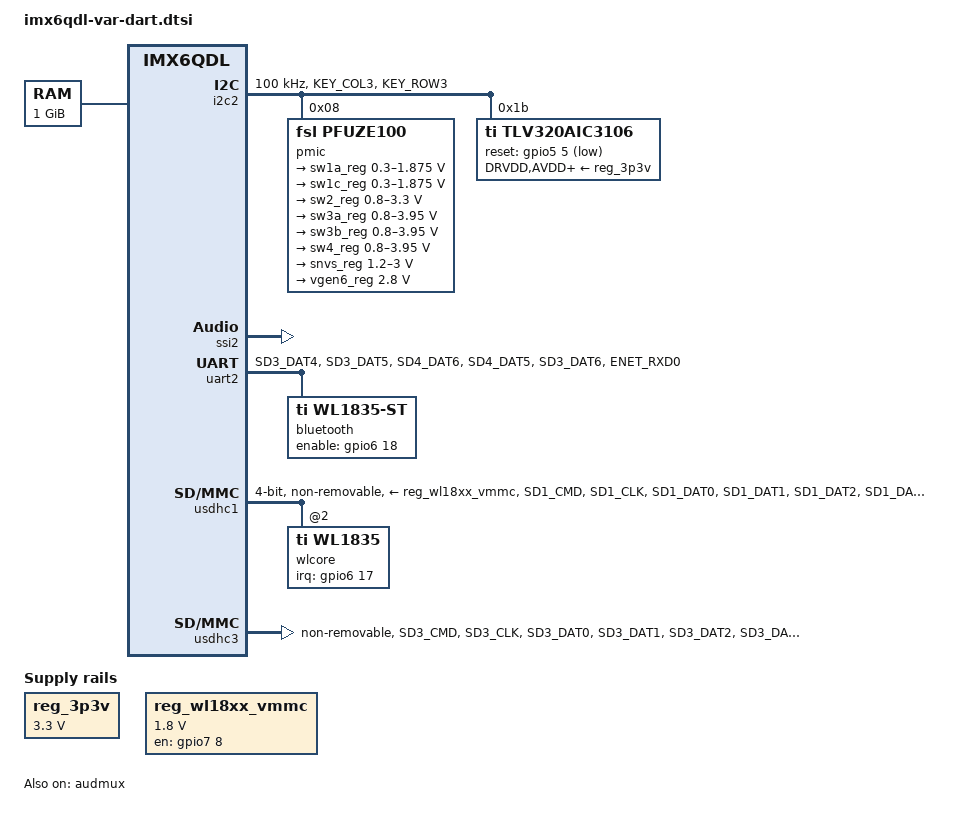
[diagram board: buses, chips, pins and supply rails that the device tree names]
// SPDX-License-Identifier: (GPL-2.0+ OR MIT)
/*
 * Support for Variscite DART-MX6 Module
 *
 * Copyright 2017 BayLibre, SAS
 * Author: Neil Armstrong <narmstrong@baylibre.com>
 */

#include <dt-bindings/gpio/gpio.h>
#include <dt-bindings/sound/fsl-imx-audmux.h>

/ {
	memory@10000000 {
		device_type = "memory";
		reg = <0x10000000 0x40000000>;
	};

	reg_3p3v: regulator-3p3v {
		compatible = "regulator-fixed";
		regulator-name = "3P3V";
		regulator-min-microvolt = <3300000>;
		regulator-max-microvolt = <3300000>;
		regulator-always-on;
	};

	reg_wl18xx_vmmc: regulator-wl18xx {
		compatible = "regulator-fixed";
		regulator-name = "vwl1807";
		regulator-min-microvolt = <1800000>;
		regulator-max-microvolt = <1800000>;
		gpio = <&gpio7 8 GPIO_ACTIVE_HIGH>;
		enable-active-high;
		startup-delay-us = <70000>;
	};
};

&audmux {
	pinctrl-names = "default";
	pinctrl-0 = <&pinctrl_audmux>;
	status = "okay";

	ssi2 {
		fsl,audmux-port = <1>;
		fsl,port-config = <
			(IMX_AUDMUX_V2_PTCR_SYN |
			IMX_AUDMUX_V2_PTCR_TFSDIR |
			IMX_AUDMUX_V2_PTCR_TFSEL(2) |
			IMX_AUDMUX_V2_PTCR_TCLKDIR |
			IMX_AUDMUX_V2_PTCR_TCSEL(2))
			IMX_AUDMUX_V2_PDCR_RXDSEL(2)
		>;
	};

	aud3 {
		fsl,audmux-port = <2>;
		fsl,port-config = <
			IMX_AUDMUX_V2_PTCR_SYN
			IMX_AUDMUX_V2_PDCR_RXDSEL(1)
		>;
	};
};

&can1 {
	pinctrl-names = "default";
	pinctrl-0 = <&pinctrl_flexcan1>;
	status = "disabled";
};

&can2 {
	pinctrl-names = "default";
	pinctrl-0 = <&pinctrl_flexcan2>;
	status = "disabled";
};

&ecspi1 {
	pinctrl-names = "default";
	pinctrl-0 = <&pinctrl_ecspi1>;
	status = "disabled";
};

&fec {
	pinctrl-names = "default";
	pinctrl-0 = <&pinctrl_enet>;
	phy-mode = "rgmii";
	status = "disabled";
};

&hdmi {
	pinctrl-names = "default";
	pinctrl-0 = <&pinctrl_hdmicec>;
	ddc-i2c-bus = <&i2c1>;
	status = "disabled";
};

&i2c1 {
	pinctrl-names = "default";
	pinctrl-0 = <&pinctrl_i2c1>;
	status = "disabled";
};

&i2c2 {
	clock-frequency = <100000>;
	pinctrl-names = "default";
	pinctrl-0 = <&pinctrl_i2c2>;
	status = "okay";

	pmic@8 {
		pinctrl-names = "default";
		pinctrl-0 = <&pinctrl_pmic>;
		compatible = "fsl,pfuze100";
		reg = <0x08>;

		regulators {
			sw1a_reg: sw1ab {
				regulator-min-microvolt = <300000>;
				regulator-max-microvolt = <1875000>;
				regulator-boot-on;
				regulator-always-on;
				regulator-ramp-delay = <6250>;
			};

			sw1c_reg: sw1c {
				regulator-min-microvolt = <300000>;
				regulator-max-microvolt = <1875000>;
				regulator-boot-on;
				regulator-always-on;
				regulator-ramp-delay = <6250>;
			};

			sw2_reg: sw2 {
				regulator-min-microvolt = <800000>;
				regulator-max-microvolt = <3300000>;
				regulator-boot-on;
				regulator-always-on;
			};

			sw3a_reg: sw3a {
				regulator-min-microvolt = <800000>;
				regulator-max-microvolt = <3950000>;
				regulator-boot-on;
				regulator-always-on;
			};

			sw3b_reg: sw3b {
				regulator-min-microvolt = <800000>;
				regulator-max-microvolt = <3950000>;
				regulator-boot-on;
				regulator-always-on;
			};

			sw4_reg: sw4 {
				regulator-min-microvolt = <800000>;
				regulator-max-microvolt = <3950000>;
			};

			snvs_reg: vsnvs {
				regulator-min-microvolt = <1200000>;
				regulator-max-microvolt = <3000000>;
				regulator-boot-on;
				regulator-always-on;
			};

			vref_reg: vrefddr {
				regulator-boot-on;
				regulator-always-on;
			};

			vgen6_reg: vgen6 {
				regulator-min-microvolt = <2800000>;
				regulator-max-microvolt = <2800000>;
				regulator-always-on;
				regulator-boot-on;
			};
		};
	};

	tlv320aic3106: codec@1b {
		compatible = "ti,tlv320aic3106";
		reg = <0x1b>;
		#sound-dai-cells = <0>;
		DRVDD-supply = <&reg_3p3v>;
		AVDD-supply = <&reg_3p3v>;
		IOVDD-supply = <&reg_3p3v>;
		DVDD-supply = <&reg_3p3v>;
		ai3x-ocmv = <0>;
		gpio-reset = <&gpio5 5 GPIO_ACTIVE_LOW>;
	};
};

&i2c3 {
	pinctrl-names = "default";
	pinctrl-0 = <&pinctrl_i2c3>;
	status = "disabled";
};

&iomuxc {
	pinctrl_audmux: audmux {
		fsl,pins = <
			MX6QDL_PAD_CSI0_DAT7__AUD3_RXD		0x130b0
			MX6QDL_PAD_CSI0_DAT4__AUD3_TXC		0x130b0
			MX6QDL_PAD_CSI0_DAT5__AUD3_TXD		0x110b0
			MX6QDL_PAD_CSI0_DAT6__AUD3_TXFS		0x130b0
			/* Audio Clock */
			MX6QDL_PAD_GPIO_0__CCM_CLKO1		0x130b0
		>;
	};

	pinctrl_bt: bt {
		fsl,pins = <
			/* Bluetooth enable */
			MX6QDL_PAD_SD3_DAT6__GPIO6_IO18		0x1b0b1
			/* Bluetooth Slow Clock */
			MX6QDL_PAD_ENET_RXD0__OSC32K_32K_OUT	0x000b0
		>;
	};

	pinctrl_ecspi1: ecspi1grp {
		fsl,pins = <
			MX6QDL_PAD_KEY_COL1__ECSPI1_MISO	0x100b1
			MX6QDL_PAD_KEY_ROW0__ECSPI1_MOSI	0x100b1
			MX6QDL_PAD_KEY_COL0__ECSPI1_SCLK	0x100b1
			/* SPI1 CS0 */
			MX6QDL_PAD_KEY_ROW1__GPIO4_IO09		0x1b0b0
			/* SPI1 CS1 */
			MX6QDL_PAD_KEY_COL2__GPIO4_IO10		0x1b0b0
		>;
	};

	pinctrl_enet: enetgrp {
		fsl,pins = <
			MX6QDL_PAD_ENET_MDIO__ENET_MDIO		0x100b0
			MX6QDL_PAD_ENET_MDC__ENET_MDC		0x100b0
			MX6QDL_PAD_RGMII_TXC__RGMII_TXC		0x10030
			MX6QDL_PAD_RGMII_TD0__RGMII_TD0		0x10030
			MX6QDL_PAD_RGMII_TD1__RGMII_TD1		0x10030
			MX6QDL_PAD_RGMII_TD2__RGMII_TD2		0x10030
			MX6QDL_PAD_RGMII_TD3__RGMII_TD3		0x10030
			MX6QDL_PAD_RGMII_TX_CTL__RGMII_TX_CTL	0x10030
			MX6QDL_PAD_ENET_REF_CLK__ENET_TX_CLK	0x100b0
			MX6QDL_PAD_RGMII_RXC__RGMII_RXC		0x1b030
			MX6QDL_PAD_RGMII_RD0__RGMII_RD0		0x1b030
			MX6QDL_PAD_RGMII_RD1__RGMII_RD1		0x1b030
			MX6QDL_PAD_RGMII_RD2__RGMII_RD2		0x1b030
			MX6QDL_PAD_RGMII_RD3__RGMII_RD3		0x1b030
			MX6QDL_PAD_RGMII_RX_CTL__RGMII_RX_CTL	0x1b030
		>;
	};

	pinctrl_flexcan1: flexcan1grp {
		fsl,pins = <
			MX6QDL_PAD_GPIO_7__FLEXCAN1_TX	0x1b0b0
			MX6QDL_PAD_GPIO_8__FLEXCAN1_RX	0x1b0b0
		>;
	};

	pinctrl_flexcan2: flexcan2grp {
		fsl,pins = <
			MX6QDL_PAD_KEY_COL4__FLEXCAN2_TX	0x1b0b0
			MX6QDL_PAD_KEY_ROW4__FLEXCAN2_RX	0x1b0b0
		>;
	};

	pinctrl_hdmicec: hdmicecgrp {
		fsl,pins = <
			MX6QDL_PAD_KEY_ROW2__HDMI_TX_CEC_LINE	0x1f8b0
		>;
	};

	pinctrl_i2c1: i2c1grp {
		fsl,pins = <
			MX6QDL_PAD_CSI0_DAT8__I2C1_SDA	0x4001b8b1
			MX6QDL_PAD_CSI0_DAT9__I2C1_SCL	0x4001b8b1
		>;
	};

	pinctrl_i2c2: i2c2grp {
		fsl,pins = <
			MX6QDL_PAD_KEY_COL3__I2C2_SCL	0x4001b8b1
			MX6QDL_PAD_KEY_ROW3__I2C2_SDA	0x4001b8b1
		>;
	};

	pinctrl_i2c3: i2c3grp {
		fsl,pins = <
			MX6QDL_PAD_GPIO_5__I2C3_SCL	0x4001b8b1
			MX6QDL_PAD_GPIO_16__I2C3_SDA	0x4001b8b1
		>;
	};

	pinctrl_pmic: pmicgrp {
		fsl,pins = <
			/* PMIC INT */
			MX6QDL_PAD_GPIO_17__GPIO7_IO12	0x1b0b1
		>;
	};

	pinctrl_pwm2: pwm2grp {
		fsl,pins = <
			MX6QDL_PAD_DISP0_DAT9__PWM2_OUT	0x1b0b1
		>;
	};

	pinctrl_uart1: uart1grp {
		fsl,pins = <
			MX6QDL_PAD_CSI0_DAT11__UART1_RX_DATA 0x1b0b1
			MX6QDL_PAD_CSI0_DAT10__UART1_TX_DATA 0x1b0b1
		>;
	};

	pinctrl_uart2: uart2grp {
		fsl,pins = <
			MX6QDL_PAD_SD3_DAT4__UART2_RX_DATA	0x1b0b1
			MX6QDL_PAD_SD3_DAT5__UART2_TX_DATA	0x1b0b1
			MX6QDL_PAD_SD4_DAT6__UART2_CTS_B	0x1b0b1
			MX6QDL_PAD_SD4_DAT5__UART2_RTS_B	0x1b0b1
		>;
	};

	pinctrl_uart3: uart3grp {
		fsl,pins = <
			MX6QDL_PAD_EIM_D25__UART3_RX_DATA 0x1b0b1
			MX6QDL_PAD_EIM_D24__UART3_TX_DATA 0x1b0b1
			MX6QDL_PAD_EIM_D23__UART3_CTS_B   0x1b0b1
			MX6QDL_PAD_EIM_EB3__UART3_RTS_B   0x1b0b1
		>;
	};

	pinctrl_usbotg: usbotggrp {
		fsl,pins = <
			MX6QDL_PAD_ENET_RX_ER__USB_OTG_ID 0x17059
		>;
	};

	pinctrl_usdhc1: usdhc1grp {
		fsl,pins = <
			MX6QDL_PAD_SD1_CMD__SD1_CMD	0x17059
			MX6QDL_PAD_SD1_CLK__SD1_CLK	0x10059
			MX6QDL_PAD_SD1_DAT0__SD1_DATA0	0x17059
			MX6QDL_PAD_SD1_DAT1__SD1_DATA1	0x17059
			MX6QDL_PAD_SD1_DAT2__SD1_DATA2	0x17059
			MX6QDL_PAD_SD1_DAT3__SD1_DATA3	0x17059
			/* WL_EN */
			MX6QDL_PAD_SD3_DAT7__GPIO6_IO17 0x17071
			/* WL_IRQ */
			MX6QDL_PAD_SD3_RST__GPIO7_IO08  0x17071
		>;
	};

	pinctrl_usdhc1_100mhz: usdhc1grp100mhz {
		fsl,pins = <
			MX6QDL_PAD_SD1_CMD__SD1_CMD	0x170B9
			MX6QDL_PAD_SD1_CLK__SD1_CLK	0x100B9
			MX6QDL_PAD_SD1_DAT0__SD1_DATA0	0x170B9
			MX6QDL_PAD_SD1_DAT1__SD1_DATA1	0x170B9
			MX6QDL_PAD_SD1_DAT2__SD1_DATA2	0x170B9
			MX6QDL_PAD_SD1_DAT3__SD1_DATA3	0x170B9
		>;
	};

	pinctrl_usdhc1_200mhz: usdhc1grp200mhz {
		fsl,pins = <
			MX6QDL_PAD_SD1_CMD__SD1_CMD	0x170F9
			MX6QDL_PAD_SD1_CLK__SD1_CLK	0x100F9
			MX6QDL_PAD_SD1_DAT0__SD1_DATA0	0x170F9
			MX6QDL_PAD_SD1_DAT1__SD1_DATA1	0x170F9
			MX6QDL_PAD_SD1_DAT2__SD1_DATA2	0x170F9
			MX6QDL_PAD_SD1_DAT3__SD1_DATA3	0x170F9
		>;
	};

	pinctrl_usdhc2: usdhc2grp {
		fsl,pins = <
			MX6QDL_PAD_SD2_CMD__SD2_CMD	0x17059
			MX6QDL_PAD_SD2_CLK__SD2_CLK	0x10059
			MX6QDL_PAD_SD2_DAT0__SD2_DATA0	0x17059
			MX6QDL_PAD_SD2_DAT1__SD2_DATA1	0x17059
			MX6QDL_PAD_SD2_DAT2__SD2_DATA2	0x17059
			MX6QDL_PAD_SD2_DAT3__SD2_DATA3	0x17059
		>;
	};

	pinctrl_usdhc3: usdhc3grp {
		fsl,pins = <
			MX6QDL_PAD_SD3_CMD__SD3_CMD	0x17059
			MX6QDL_PAD_SD3_CLK__SD3_CLK	0x10059
			MX6QDL_PAD_SD3_DAT0__SD3_DATA0	0x17059
			MX6QDL_PAD_SD3_DAT1__SD3_DATA1	0x17059
			MX6QDL_PAD_SD3_DAT2__SD3_DATA2	0x17059
			MX6QDL_PAD_SD3_DAT3__SD3_DATA3	0x17059
		>;
	};
};

&pcie {
	fsl,tx-swing-full = <103>;
	fsl,tx-swing-low = <103>;
	reset-gpio = <&gpio4 11 GPIO_ACTIVE_LOW>;
	status = "disabled";
};

&pwm2 {
	pinctrl-names = "default";
	pinctrl-0 = <&pinctrl_pwm2>;
	status = "disabled";
};

&reg_arm {
	vin-supply = <&sw1a_reg>;
};

&reg_pu {
	vin-supply = <&sw1c_reg>;
};

&reg_soc {
	vin-supply = <&sw1c_reg>;
};

&snvs_poweroff {
	status = "okay";
};

&ssi2 {
	status = "okay";
};

&uart1 {
	pinctrl-names = "default";
	pinctrl-0 = <&pinctrl_uart1>;
	status = "disabled";
};

&uart2 {
	pinctrl-names = "default";
	pinctrl-0 = <&pinctrl_uart2 &pinctrl_bt>;
	uart-has-rtscts;
	status = "okay";

	bluetooth {
		compatible = "ti,wl1835-st";
		enable-gpios = <&gpio6 18 GPIO_ACTIVE_HIGH>;
	};
};

&uart3 {
	pinctrl-names = "default";
	pinctrl-0 = <&pinctrl_uart3>;
	uart-has-rtscts;
	status = "disabled";
};

&usbh1 {
	status = "disabled";
};

&usbotg {
	vbus-supply = <&reg_usb_otg_vbus>;
	pinctrl-names = "default";
	pinctrl-0 = <&pinctrl_usbotg>;
	disable-over-current;
	status = "disabled";
};

&usdhc1 {
	pinctrl-names = "default", "state_100mhz", "state_200mhz";
	pinctrl-0 = <&pinctrl_usdhc1>;
	pinctrl-1 = <&pinctrl_usdhc1_100mhz>;
	pinctrl-2 = <&pinctrl_usdhc1_200mhz>;
	bus-width = <4>;
	vmmc-supply = <&reg_wl18xx_vmmc>;
	non-removable;
	wakeup-source;
	keep-power-in-suspend;
	cap-power-off-card;
	#address-cells = <1>;
	#size-cells = <0>;
	status = "okay";

	wlcore: wlcore@2 {
		compatible = "ti,wl1835";
		reg = <2>;
		interrupt-parent = <&gpio6>;
		interrupts = <17 IRQ_TYPE_LEVEL_HIGH>;
		ref-clock-frequency = <38400000>;
	};
};

&usdhc2 {
	pinctrl-names = "default";
	pinctrl-0 = <&pinctrl_usdhc2>;
	no-1-8-v;
	keep-power-in-suspend;
	wakeup-source;
	status = "disabled";
};

&usdhc3 {
	pinctrl-names = "default";
	pinctrl-0 = <&pinctrl_usdhc3>;
	non-removable;
	keep-power-in-suspend;
	wakeup-source;
	status = "okay";
};
